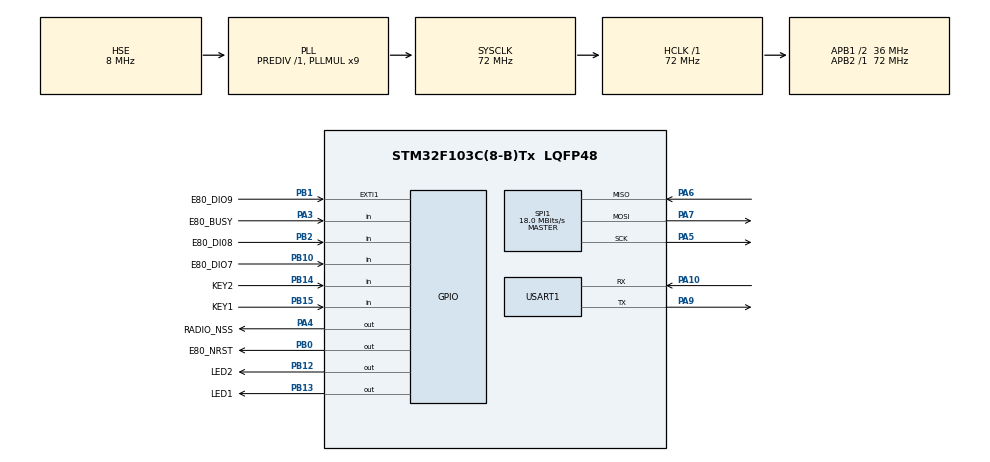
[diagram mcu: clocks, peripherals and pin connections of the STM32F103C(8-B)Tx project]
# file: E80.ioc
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Mcu.Family=STM32F1
Mcu.Name=STM32F103C(8-B)Tx
Mcu.Package=LQFP48
NVIC.EXTI1_IRQn=true\:0\:0\:false\:false\:true\:true\:true\:true
NVIC.PriorityGroup=NVIC_PRIORITYGROUP_4
NVIC.USART1_IRQn=true\:0\:0\:false\:false\:true\:true\:true\:true
PA10.Mode=Asynchronous
PA10.Signal=USART1_RX
PA13.Mode=Serial_Wire
PA13.Signal=SYS_JTMS-SWDIO
PA14.Mode=Serial_Wire
PA14.Signal=SYS_JTCK-SWCLK
PA3.GPIO_Label=E80_BUSY
PA3.Signal=GPIO_Input
PA4.GPIO_Label=RADIO_NSS
PA4.Signal=GPIO_Output
PA5.Mode=Full_Duplex_Master
PA5.Signal=SPI1_SCK
PA6.Mode=Full_Duplex_Master
PA6.Signal=SPI1_MISO
PA7.Mode=Full_Duplex_Master
PA7.Signal=SPI1_MOSI
PA9.Mode=Asynchronous
PA9.Signal=USART1_TX
PB0.GPIO_Label=E80_NRST
PB0.Signal=GPIO_Output
PB1.GPIO_Label=E80_DIO9
PB1.GPIO_ModeDefaultEXTI=GPIO_MODE_IT_RISING
PB1.GPIO_PuPd=GPIO_PULLDOWN
PB1.Signal=GPXTI1
PB10.GPIO_Label=E80_DIO7
PB10.Signal=GPIO_Input
PB12.GPIO_Label=LED2
PB12.Signal=GPIO_Output
PB13.GPIO_Label=LED1
PB13.Signal=GPIO_Output
PB14.GPIO_Label=KEY2
PB14.Signal=GPIO_Input
PB15.GPIO_Label=KEY1
PB15.Signal=GPIO_Input
PB2.GPIO_Label=E80_DI08
PB2.Signal=GPIO_Input
PD0-OSC_IN.Mode=HSE-External-Oscillator
PD0-OSC_IN.Signal=RCC_OSC_IN
PD1-OSC_OUT.Mode=HSE-External-Oscillator
PD1-OSC_OUT.Signal=RCC_OSC_OUT
ProjectManager.HeapSize=0x200
ProjectManager.StackSize=0x400
ProjectManager.TargetToolchain=MDK-ARM V5.32
RCC.AHBFreq_Value=72000000
RCC.APB1CLKDivider=RCC_HCLK_DIV2
RCC.APB1Freq_Value=36000000
RCC.APB1TimFreq_Value=72000000
RCC.APB2Freq_Value=72000000
RCC.APB2TimFreq_Value=72000000
RCC.HCLKFreq_Value=72000000
RCC.PLLMUL=RCC_PLL_MUL9
RCC.PLLSourceVirtual=RCC_PLLSOURCE_HSE
RCC.SYSCLKFreq_VALUE=72000000
RCC.SYSCLKSource=RCC_SYSCLKSOURCE_PLLCLK
RCC.USBFreq_Value=72000000
SPI1.BaudRatePrescaler=SPI_BAUDRATEPRESCALER_4
SPI1.CalculateBaudRate=18.0 MBits/s
SPI1.Direction=SPI_DIRECTION_2LINES
SPI1.Mode=SPI_MODE_MASTER
SPI1.VirtualType=VM_MASTER
USART1.VirtualMode=VM_ASYNC
board=custom

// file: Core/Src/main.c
/* USER CODE BEGIN Header */
/**
 ******************************************************************************
 * @file           : main.c
 * @brief          : Main program body
 ******************************************************************************
 * @attention
 *
 * Copyright (c) 2024 STMicroelectronics.
 * All rights reserved.
 *
 * This software is licensed under terms that can be found in the LICENSE file
 * in the root directory of this software component.
 * If no LICENSE file comes with this software, it is provided AS-IS.
 *
 ******************************************************************************
 */
/* USER CODE END Header */
#include "main.h"

/* USER CODE BEGIN Includes */
#include "event.h"
#include "lr11xx_hal.h"
#include "lr11xx_radio.h"
#include "lr11xx_regmem.h"
#include "lr11xx_system.h"
#include "lr11xx_types.h"
#include "stm32f1xx_hal_pwr.h"
#include "string.h"
#include "user_radio.h"
#include "user_uart.h"

/* USER CODE END Includes */

SPI_HandleTypeDef hspi1;
UART_HandleTypeDef huart1;

/* USER CODE BEGIN PV */

/* 串口读取数据缓冲区 */
uint8_t opt_buffer[255] = {0};

/* 默认自定义工作频点 */
uint32_t frequency = 850000000;

/* 工厂测试标志 */
uint8_t factory_test = false;

/* USER CODE END PV */

void SystemClock_Config(void);
static void MX_GPIO_Init(void);
static void MX_SPI1_Init(void);
static void MX_USART1_UART_Init(void);

/* USER CODE BEGIN 0 */
void hal_mcu_disable_irq(void) { __disable_irq(); }

void hal_mcu_enable_irq(void) { __enable_irq(); }

uint16_t opt_lenght = 0;
/* USER CODE END 0 */

int main(void) {
  /* USER CODE BEGIN 1 */
  hal_mcu_disable_irq();
  /* USER CODE END 1 */

  /* MCU Configuration--------------------------------------------------------*/

  /* Reset of all peripherals, Initializes the Flash interface and the Systick.
   */
  HAL_Init();

  /* Configure the system clock */
  SystemClock_Config();

  /* Initialize all configured peripherals */
  MX_GPIO_Init();
  MX_SPI1_Init();
  MX_USART1_UART_Init();

  /* 清除串口接收中断标志 */
  __HAL_UART_CLEAR_FLAG(&huart1, UART_FLAG_RXNE);
  /* 开启串口接收中断 */
  __HAL_UART_ENABLE_IT(&huart1, UART_IT_RXNE);
  /* 串口中断使能 */
  HAL_NVIC_EnableIRQ(USART1_IRQn);
  /* 串口fifo初始化 */
  uart_fifo_init();
  /* USER CODE BEGIN 2 */
  hal_mcu_enable_irq();
  /* 射频初始化 */
  radio_init(LR11XX_WITH_LF_HP_PA, 22, frequency);
  /* 射频进入接收状态 */
  radio_rx();
  /* 系统启动打印信息 */
  HAL_UART_Transmit(&huart1, (const uint8_t *)"Radio enter receive\r\n",
                    sizeof("Radio enter receive\r\n"), 100);
  HAL_UART_Transmit(&huart1, (const uint8_t *)"FW：7488-0-10\r\n",
                    sizeof("FW：7488-0-10\r\n"), 100);
  HAL_UART_Transmit(&huart1, (const uint8_t *)"Enter the main program\r\n",
                    sizeof("Enter the main program\r\n"), 100);
  /* USER CODE END 2 */

  /* Infinite loop */
  while (1) {
    /* USER CODE BEGIN 3 */
    if (event_check(EVENT_UART_RX_DONE)) {
      event_clear(EVENT_UART_RX_DONE);
      /* 读取串口接收内容 */
      uart_read(opt_buffer, &opt_lenght);
      if ((opt_buffer[0] == 0xC1) && (opt_lenght <= 6)) {
        /* 频率配置 */
        if ((opt_buffer[1] == 0x00) && (opt_lenght == 6)) {
          frequency = 0;
          frequency = frequency | (uint32_t)(opt_buffer[2] << 24);
          frequency = frequency | (uint32_t)(opt_buffer[3] << 16);
          frequency = frequency | (uint32_t)(opt_buffer[4] << 8);
          frequency = frequency | (uint32_t)(opt_buffer[5] << 0);
          /* 频率如果大于2.4G 重新配置PA通道及发送参数 */
          if (frequency >= 2400000000) {
            lr11xx_radio_set_rf_freq(NULL, frequency);
            lr11xx_get_tx_cfg(LR11XX_WITH_HF_PA, 13, &output_params);
            lr11xx_radio_set_pa_cfg(NULL, &output_params.pa_cfg);
          }
          /* SUB-G 410-930MHz 配置时注意频段区间 */
          else {
            radio_init(LR11XX_WITH_LF_HP_PA, 22, frequency);
          }
          radio_rx();
          HAL_UART_Transmit(&huart1, opt_buffer, opt_lenght, 100);
        }
        /* PA通道配置 C1 01 00 16(HP -7 - 22dbm)   C1 01 01 0F(LP -7 - 15dbm) C1
           01 02 0D(HF-7 - 13dbm) */
        else if (opt_buffer[1] == 0x01 && (opt_lenght == 4)) {
          if (opt_buffer[2] == 0x00) {
            if (opt_buffer[3] > 22) {
              opt_buffer[3] = 22;
            }
            radio_init(LR11XX_WITH_LF_HP_PA, opt_buffer[3], frequency);
            radio_rx();
            HAL_UART_Transmit(&huart1, opt_buffer, opt_lenght, 100);
          } else if (opt_buffer[2] == 0x01) {
            if (opt_buffer[3] > 15) {
              opt_buffer[3] = 15;
            }
            radio_init(LR11XX_WITH_LF_LP_PA, opt_buffer[3], frequency);
            radio_rx();
            HAL_UART_Transmit(&huart1, opt_buffer, opt_lenght, 100);
          } else if (opt_buffer[2] == 0x02) {
            if (opt_buffer[3] > 13) {
              opt_buffer[3] = 13;
            }
            if (frequency < 2400000000)
              frequency = 2400000000;

            radio_init(LR11XX_WITH_HF_PA, opt_buffer[3], frequency);
            radio_rx();
            HAL_UART_Transmit(&huart1, opt_buffer, opt_lenght, 100);
          }
        }
        /* 单载波 C1 02 00：stop    C1 02 01：start */
        else if (opt_buffer[1] == 0x02 && (opt_lenght == 3)) {
          if (opt_buffer[2] == 0x01) {
            lr11xx_radio_set_tx_cw(NULL);
            HAL_UART_Transmit(&huart1, (const uint8_t *)"start tx cw\r\n",
                              sizeof("start tx cw\r\n"), 100);
          } else if (opt_buffer[2] == 0x00) {
            radio_rx();
            HAL_UART_Transmit(&huart1, (const uint8_t *)"stop tx cw\r\n",
                              sizeof("stop tx cw\r\n"), 100);
          }
        }
        /* 射频低功耗配置 C1 03 00：退出休眠   C1 03 01：进入休眠
           （射频模组7.6uA）*/
        else if (opt_buffer[1] == 0x03 && (opt_lenght == 3)) {
          if (opt_buffer[2] == 0x01) {
            radio_sleep();
            /* 进入休眠后重新配置spi引脚 */
            HAL_SPI_DeInit(&hspi1);
            GPIO_InitTypeDef GPIO_InitStruct = {0};
            GPIO_InitStruct.Pin = GPIO_PIN_5 | GPIO_PIN_6 | GPIO_PIN_7;
            GPIO_InitStruct.Mode = GPIO_MODE_INPUT;
            GPIO_InitStruct.Pull = GPIO_PULLUP;
            HAL_GPIO_Init(GPIOA, &GPIO_InitStruct);
            /* 用户按照需求选择是否控制单片机进行休眠
               具体可以查看stm32f1xx_hal_pwr.c描述
               HAL_PWR_EnterSLEEPMode：单片机进入深度休眠
               HAL_PWR_EnterSTOPMode ：单片机进入停止模式 */
            // HAL_PWR_EnterSLEEPMode(1, PWR_SLEEPENTRY_WFI);
            // HAL_PWR_EnterSTOPMode(PWR_LOWPOWERREGULATOR_ON,PWR_STOPENTRY_WFI);
            HAL_UART_Transmit(&huart1, (const uint8_t *)"radio enter sleep\r\n",
                              sizeof("radio enter sleep\r\n"), 100);
          } else if (opt_buffer[2] == 0x00) {
            /* RF复位唤醒 */
            MX_SPI1_Init();
            radio_init(LR11XX_WITH_LF_HP_PA, 22, frequency);
            radio_rx();
            HAL_UART_Transmit(&huart1, (const uint8_t *)"radio exit sleep\r\n",
                              sizeof("radio exit sleep\r\n"), 100);
          }
        }
        /* 自动发送数据 C1 C1 C1 */
        else if (opt_buffer[1] == 0xC1 && opt_buffer[2] == 0xC1 &&
                 (opt_lenght == 3)) {
          radio_tx_auto();
        }
      }
      /* 一次性配置射频参数接口 */
      else if (opt_buffer[0] == 0xC2 && opt_lenght == 12) {
        lr11xx_pa_type_t pa_types = opt_buffer[1];
        uint8_t powers = opt_buffer[2];
        lr11xx_radio_lora_sf_t sf = opt_buffer[3];
        lr11xx_radio_lora_bw_t bw = opt_buffer[4];
        lr11xx_radio_lora_cr_t cr = opt_buffer[5];
        uint8_t ldros = opt_buffer[6];
        uint8_t synword = opt_buffer[7];
        frequency = 0;
        frequency = frequency | (uint32_t)(opt_buffer[8] << 24);
        frequency = frequency | (uint32_t)(opt_buffer[9] << 16);
        frequency = frequency | (uint32_t)(opt_buffer[10] << 8);
        frequency = frequency | (uint32_t)(opt_buffer[11] << 0);
        radio_inits(pa_types, powers, frequency, sf, bw, cr, ldros, synword);
        radio_rx();
      }
      /* factory test mode */
      else if ((opt_buffer[0] == 0xC0) && (opt_buffer[1] == 0x00) &&
               (opt_buffer[2] == 0x01) && (opt_lenght == 3)) {
        opt_buffer[0] = 0xC0;
        opt_buffer[1] = 0x01;
        opt_buffer[2] = 0x01;
        HAL_UART_Transmit(&huart1, (const uint8_t *)opt_buffer, opt_lenght,
                          100);
        factory_test = true;
      }
      /* 低空速距离测试
         C3 C3 00
	   + 频率 Sub-G 0.292kbps
         C3 C3 01
	   + 频率 2.4G 0.476kbps
       */
      else if ((opt_buffer[0] == 0xC3) && (opt_buffer[1] == 0xC3) &&
               (opt_lenght == 7)) {
        frequency = 0;
        frequency = frequency | (uint32_t)(opt_buffer[3] << 24);
        frequency = frequency | (uint32_t)(opt_buffer[4] << 16);
        frequency = frequency | (uint32_t)(opt_buffer[5] << 8);
        frequency = frequency | (uint32_t)(opt_buffer[6] << 0);

        if (opt_buffer[2] == 0x00) {
          if (frequency > 950000000)
            frequency = 950000000;
          radio_inits(LR11XX_WITH_LF_HP_PA, 22, frequency,
                      LR11XX_RADIO_LORA_SF12, LR11XX_RADIO_LORA_BW_125,
                      LR11XX_RADIO_LORA_CR_4_5, 1, 0x12);
        } else if (opt_buffer[2] == 0x01) {
          if (frequency < 2400000000)
            frequency = 2400000000;
          radio_inits(LR11XX_WITH_HF_PA, 13, frequency, LR11XX_RADIO_LORA_SF12,
                      LR11XX_RADIO_LORA_BW_200, LR11XX_RADIO_LORA_CR_4_5, 1,
                      0x12);
        }
        /* 2.4K 对比测试 */
        else if (opt_buffer[2] == 0x02) {
          radio_inits(LR11XX_WITH_LF_HP_PA, 22, frequency,
                      LR11XX_RADIO_LORA_SF11, LR11XX_RADIO_LORA_BW_500,
                      LR11XX_RADIO_LORA_CR_4_5, 1, 0x12);
        }
        radio_rx();
        HAL_UART_Transmit(&huart1, (const uint8_t *)opt_buffer, opt_lenght,
                          100);
      }
      /* 灵敏度测试 */
      else if ((opt_buffer[0] == 0xC4) && (opt_buffer[1] == 0xC4) &&
               (opt_lenght == 7)) {
        frequency = 0;
        frequency = frequency | (uint32_t)(opt_buffer[3] << 24);
        frequency = frequency | (uint32_t)(opt_buffer[4] << 16);
        frequency = frequency | (uint32_t)(opt_buffer[5] << 8);
        frequency = frequency | (uint32_t)(opt_buffer[6] << 0);

        if (opt_buffer[2] == 0x00) {
          if (frequency > 950000000)
            frequency = 950000000;
          radio_inits(LR11XX_WITH_LF_HP_PA, 22, frequency,
                      LR11XX_RADIO_LORA_SF9, LR11XX_RADIO_LORA_BW_125,
                      LR11XX_RADIO_LORA_CR_4_5, 0, 0x12);
        } else if (opt_buffer[2] == 0x01) {
          if (frequency < 2400000000)
            frequency = 2400000000;
          radio_inits(LR11XX_WITH_HF_PA, 13, frequency, LR11XX_RADIO_LORA_SF9,
                      LR11XX_RADIO_LORA_BW_125, LR11XX_RADIO_LORA_CR_4_5, 0,
                      0x12);
        }
        radio_rx();
        HAL_UART_Transmit(&huart1, (const uint8_t *)opt_buffer, opt_lenght,
                          100);
      }
      /* 如果串口接收数据不满足上述指令配置 直接进行无线传输 */
      else {
        radio_tx_custom(opt_buffer, opt_lenght);
        memset(opt_buffer, 0, sizeof(opt_buffer));
      }
    }
    /* 射频接收数据完成 */
    if (event_check(EVENT_RADIO_RX_DONE)) {
      event_clear(EVENT_RADIO_RX_DONE);
      /* 未检测到factory test 标志 直接打印无线接收到的数据 */
      if (!factory_test) {
        /* 阻塞式打印射频接收数据 */
        HAL_UART_Transmit(&huart1, (const uint8_t *)rx_buffer, rx_buffer_lenght,
                          100);
        memset(rx_buffer, 0, sizeof(rx_buffer));
      }
      /* 检测到factory test 标志 直接把无线接收到的数据通过无线回环给发送方 */
      else {
        HAL_Delay(200);
        radio_tx_custom(rx_buffer, rx_buffer_lenght);
        memset(rx_buffer, 0, sizeof(rx_buffer));
      }
    }
  }
  /* USER CODE END 3 */
}

void SystemClock_Config(void) {
  RCC_OscInitTypeDef RCC_OscInitStruct = {0};
  RCC_ClkInitTypeDef RCC_ClkInitStruct = {0};

  /** Initializes the RCC Oscillators according to the specified parameters
   * in the RCC_OscInitTypeDef structure.
   */
  RCC_OscInitStruct.OscillatorType = RCC_OSCILLATORTYPE_HSE;
  RCC_OscInitStruct.HSEState = RCC_HSE_ON;
  RCC_OscInitStruct.HSEPredivValue = RCC_HSE_PREDIV_DIV1;
  RCC_OscInitStruct.HSIState = RCC_HSI_ON;
  RCC_OscInitStruct.PLL.PLLState = RCC_PLL_ON;
  RCC_OscInitStruct.PLL.PLLSource = RCC_PLLSOURCE_HSE;
  RCC_OscInitStruct.PLL.PLLMUL = RCC_PLL_MUL9;
  if (HAL_RCC_OscConfig(&RCC_OscInitStruct) != HAL_OK) {
    Error_Handler();
  }

  /** Initializes the CPU, AHB and APB buses clocks
   */
  RCC_ClkInitStruct.ClockType = RCC_CLOCKTYPE_HCLK | RCC_CLOCKTYPE_SYSCLK |
                                RCC_CLOCKTYPE_PCLK1 | RCC_CLOCKTYPE_PCLK2;
  RCC_ClkInitStruct.SYSCLKSource = RCC_SYSCLKSOURCE_PLLCLK;
  RCC_ClkInitStruct.AHBCLKDivider = RCC_SYSCLK_DIV1;
  RCC_ClkInitStruct.APB1CLKDivider = RCC_HCLK_DIV2;
  RCC_ClkInitStruct.APB2CLKDivider = RCC_HCLK_DIV1;

  if (HAL_RCC_ClockConfig(&RCC_ClkInitStruct, FLASH_LATENCY_2) != HAL_OK) {
    Error_Handler();
  }
}

static void MX_SPI1_Init(void) {

  /* SPI1 parameter configuration*/
  hspi1.Instance = SPI1;
  hspi1.Init.Mode = SPI_MODE_MASTER;
  hspi1.Init.Direction = SPI_DIRECTION_2LINES;
  hspi1.Init.DataSize = SPI_DATASIZE_8BIT;
  hspi1.Init.CLKPolarity = SPI_POLARITY_LOW;
  hspi1.Init.CLKPhase = SPI_PHASE_1EDGE;
  hspi1.Init.NSS = SPI_NSS_SOFT;
  hspi1.Init.BaudRatePrescaler = SPI_BAUDRATEPRESCALER_4;
  hspi1.Init.FirstBit = SPI_FIRSTBIT_MSB;
  hspi1.Init.TIMode = SPI_TIMODE_DISABLE;
  hspi1.Init.CRCCalculation = SPI_CRCCALCULATION_DISABLE;
  hspi1.Init.CRCPolynomial = 10;
  if (HAL_SPI_Init(&hspi1) != HAL_OK) {
    Error_Handler();
  }
}

static void MX_USART1_UART_Init(void) {

  huart1.Instance = USART1;
  huart1.Init.BaudRate = 115200;
  huart1.Init.WordLength = UART_WORDLENGTH_8B;
  huart1.Init.StopBits = UART_STOPBITS_1;
  huart1.Init.Parity = UART_PARITY_NONE;
  huart1.Init.Mode = UART_MODE_TX_RX;
  huart1.Init.HwFlowCtl = UART_HWCONTROL_NONE;
  huart1.Init.OverSampling = UART_OVERSAMPLING_16;
  if (HAL_UART_Init(&huart1) != HAL_OK) {
    Error_Handler();
  }
}

static void MX_GPIO_Init(void) {
  GPIO_InitTypeDef GPIO_InitStruct = {0};

  /* GPIO Ports Clock Enable */
  __HAL_RCC_GPIOD_CLK_ENABLE();
  __HAL_RCC_GPIOA_CLK_ENABLE();
  __HAL_RCC_GPIOB_CLK_ENABLE();

  /*Configure GPIO pin Output Level */
  HAL_GPIO_WritePin(RADIO_NSS_GPIO_Port, RADIO_NSS_Pin, GPIO_PIN_RESET);

  /*Configure GPIO pin Output Level */
  HAL_GPIO_WritePin(GPIOB, E80_NRST_Pin | LED2_Pin | LED1_Pin, GPIO_PIN_RESET);

  /*Configure GPIO pin : E80_BUSY_Pin */
  GPIO_InitStruct.Pin = E80_BUSY_Pin;
  GPIO_InitStruct.Mode = GPIO_MODE_INPUT;
  GPIO_InitStruct.Pull = GPIO_PULLUP;
  HAL_GPIO_Init(E80_BUSY_GPIO_Port, &GPIO_InitStruct);

  /*Configure GPIO pin : RADIO_NSS_Pin */
  GPIO_InitStruct.Pin = RADIO_NSS_Pin;
  GPIO_InitStruct.Mode = GPIO_MODE_OUTPUT_PP;
  GPIO_InitStruct.Pull = GPIO_NOPULL;
  GPIO_InitStruct.Speed = GPIO_SPEED_FREQ_LOW;
  HAL_GPIO_Init(RADIO_NSS_GPIO_Port, &GPIO_InitStruct);

  /*Configure GPIO pins : E80_NRST_Pin LED2_Pin LED1_Pin */
  GPIO_InitStruct.Pin = E80_NRST_Pin | LED2_Pin | LED1_Pin;
  GPIO_InitStruct.Mode = GPIO_MODE_OUTPUT_PP;
  GPIO_InitStruct.Pull = GPIO_NOPULL;
  GPIO_InitStruct.Speed = GPIO_SPEED_FREQ_LOW;
  HAL_GPIO_Init(GPIOB, &GPIO_InitStruct);

  /*Configure GPIO pin : E80_DIO9_Pin */
  GPIO_InitStruct.Pin = E80_DIO9_Pin;
  GPIO_InitStruct.Mode = GPIO_MODE_IT_RISING;
  GPIO_InitStruct.Pull = GPIO_PULLDOWN;
  HAL_GPIO_Init(E80_DIO9_GPIO_Port, &GPIO_InitStruct);

  /*Configure GPIO pins : E80_DI08_Pin E80_DIO7_Pin KEY2_Pin KEY1_Pin */
  GPIO_InitStruct.Pin = E80_DI08_Pin | E80_DIO7_Pin | KEY2_Pin | KEY1_Pin;
  GPIO_InitStruct.Mode = GPIO_MODE_INPUT;
  GPIO_InitStruct.Pull = GPIO_PULLUP;
  HAL_GPIO_Init(GPIOB, &GPIO_InitStruct);

  /* EXTI interrupt init*/
  HAL_NVIC_SetPriority(EXTI1_IRQn, 0, 0);
  HAL_NVIC_EnableIRQ(EXTI1_IRQn);

}

void Error_Handler(void) {
  __disable_irq();
  while (1) {
  }
}

#ifdef USE_FULL_ASSERT
/**
 * @brief  Reports the name of the source file and the source line number
 *         where the assert_param error has occurred.
 * @param  file: pointer to the source file name
 * @param  line: assert_param error line source number
 * @retval None
 */
void assert_failed(uint8_t *file, uint32_t line) {
  /* USER CODE BEGIN 6 */
  /* User can add his own implementation to report the file name and line
     number, ex: printf("Wrong parameters value: file %s on line %d\r\n", file,
     line) */
  /* USER CODE END 6 */
}
#endif /* USE_FULL_ASSERT */
